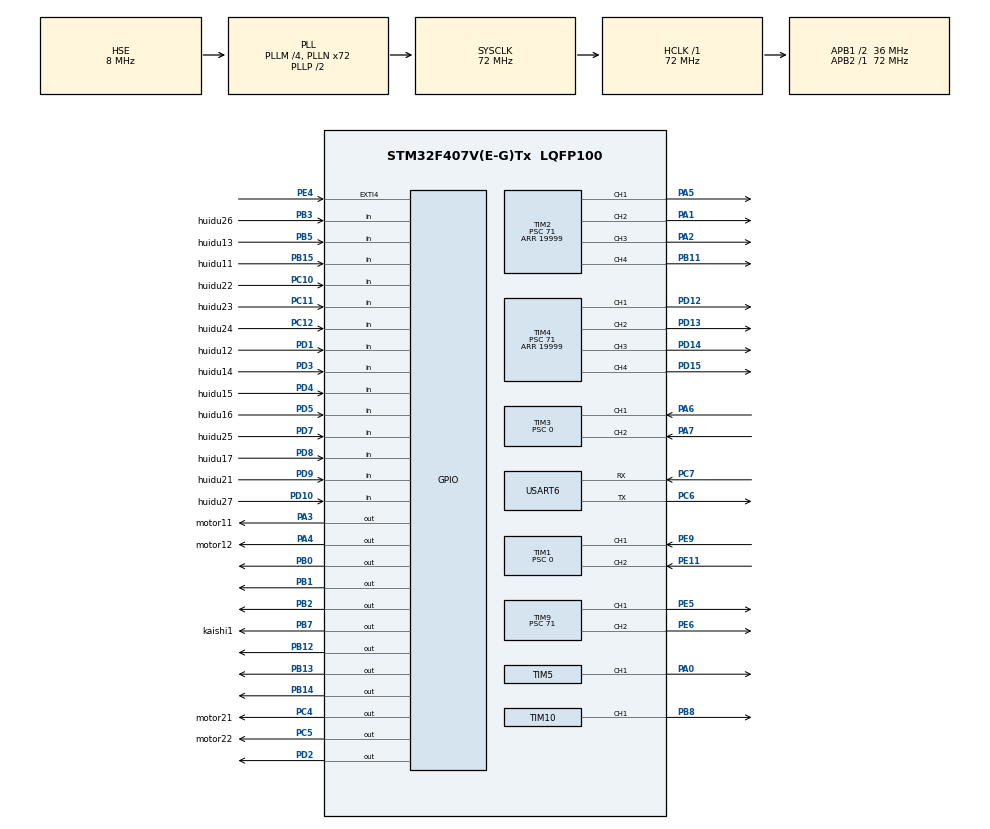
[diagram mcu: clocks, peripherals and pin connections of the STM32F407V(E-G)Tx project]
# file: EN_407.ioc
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Dma.Request0=USART6_RX
Dma.Request1=USART6_TX
Dma.USART6_RX.0.Direction=DMA_PERIPH_TO_MEMORY
Dma.USART6_RX.0.FIFOMode=DMA_FIFOMODE_DISABLE
Dma.USART6_RX.0.Instance=DMA2_Stream1
Dma.USART6_RX.0.MemDataAlignment=DMA_MDATAALIGN_BYTE
Dma.USART6_RX.0.MemInc=DMA_MINC_ENABLE
Dma.USART6_RX.0.Mode=DMA_CIRCULAR
Dma.USART6_RX.0.PeriphDataAlignment=DMA_PDATAALIGN_BYTE
Dma.USART6_RX.0.PeriphInc=DMA_PINC_DISABLE
Dma.USART6_RX.0.Priority=DMA_PRIORITY_MEDIUM
Dma.USART6_TX.1.Direction=DMA_MEMORY_TO_PERIPH
Dma.USART6_TX.1.FIFOMode=DMA_FIFOMODE_DISABLE
Dma.USART6_TX.1.Instance=DMA2_Stream6
Dma.USART6_TX.1.MemDataAlignment=DMA_MDATAALIGN_BYTE
Dma.USART6_TX.1.MemInc=DMA_MINC_ENABLE
Dma.USART6_TX.1.Mode=DMA_NORMAL
Dma.USART6_TX.1.PeriphDataAlignment=DMA_PDATAALIGN_BYTE
Dma.USART6_TX.1.PeriphInc=DMA_PINC_DISABLE
Dma.USART6_TX.1.Priority=DMA_PRIORITY_MEDIUM
Mcu.Family=STM32F4
Mcu.Name=STM32F407V(E-G)Tx
Mcu.Package=LQFP100
NVIC.DMA2_Stream1_IRQn=true\:0\:0\:false\:false\:true\:false\:true\:true
NVIC.DMA2_Stream6_IRQn=true\:0\:0\:false\:false\:true\:false\:true\:true
NVIC.EXTI4_IRQn=true\:0\:0\:false\:false\:true\:true\:true\:true
NVIC.PriorityGroup=NVIC_PRIORITYGROUP_4
NVIC.TIM3_IRQn=true\:0\:0\:false\:false\:true\:true\:true\:true
NVIC.TIM5_IRQn=true\:0\:0\:false\:false\:true\:true\:true\:true
NVIC.TIM6_DAC_IRQn=true\:1\:0\:true\:false\:true\:true\:true\:true
NVIC.USART6_IRQn=true\:2\:0\:true\:false\:true\:true\:true\:true
PA0-WKUP.GPIO_Speed=GPIO_SPEED_FREQ_HIGH
PA0-WKUP.Signal=S_TIM5_CH1
PA1.GPIO_Speed=GPIO_SPEED_FREQ_HIGH
PA1.Signal=S_TIM2_CH2
PA13.Mode=Serial_Wire
PA13.Signal=SYS_JTMS-SWDIO
PA14.Mode=Serial_Wire
PA14.Signal=SYS_JTCK-SWCLK
PA2.Signal=S_TIM2_CH3
PA3.GPIO_Label=motor11
PA3.GPIO_PuPd=GPIO_PULLUP
PA3.GPIO_Speed=GPIO_SPEED_FREQ_HIGH
PA3.Signal=GPIO_Output
PA4.GPIO_Label=motor12
PA4.GPIO_PuPd=GPIO_PULLUP
PA4.GPIO_Speed=GPIO_SPEED_FREQ_HIGH
PA4.Signal=GPIO_Output
PA5.Signal=S_TIM2_CH1_ETR
PA6.Signal=S_TIM3_CH1
PA7.Signal=S_TIM3_CH2
PB0.GPIO_ModeDefaultOutputPP=GPIO_MODE_OUTPUT_PP
PB0.GPIO_PuPd=GPIO_PULLDOWN
PB0.GPIO_Speed=GPIO_SPEED_FREQ_HIGH
PB0.Signal=GPIO_Output
PB1.GPIO_PuPd=GPIO_PULLDOWN
PB1.GPIO_Speed=GPIO_SPEED_FREQ_HIGH
PB1.Signal=GPIO_Output
PB11.Signal=S_TIM2_CH4
PB12.Signal=GPIO_Output
PB13.Signal=GPIO_Output
PB14.Signal=GPIO_Output
PB15.GPIO_Label=huidu11
PB15.GPIO_PuPd=GPIO_NOPULL
PB15.Signal=GPIO_Input
PB2.GPIO_ModeDefaultOutputPP=GPIO_MODE_OUTPUT_PP
PB2.GPIO_PuPd=GPIO_PULLDOWN
PB2.GPIO_Speed=GPIO_SPEED_FREQ_HIGH
PB2.Signal=GPIO_Output
PB3.GPIO_Label=huidu26
PB3.GPIO_PuPd=GPIO_NOPULL
PB3.Signal=GPIO_Input
PB5.GPIO_Label=huidu13
PB5.GPIO_PuPd=GPIO_NOPULL
PB5.Signal=GPIO_Input
PB7.GPIO_Label=kaishi1
PB7.Signal=GPIO_Output
PB8.Signal=S_TIM10_CH1
PC10.GPIO_Label=huidu22
PC10.GPIO_PuPd=GPIO_NOPULL
PC10.Signal=GPIO_Input
PC11.GPIO_Label=huidu23
PC11.GPIO_PuPd=GPIO_NOPULL
PC11.Signal=GPIO_Input
PC12.GPIO_Label=huidu24
PC12.GPIO_PuPd=GPIO_NOPULL
PC12.Signal=GPIO_Input
PC4.GPIO_Label=motor21
PC4.GPIO_PuPd=GPIO_PULLDOWN
PC4.GPIO_Speed=GPIO_SPEED_FREQ_HIGH
PC4.Signal=GPIO_Output
PC5.GPIO_Label=motor22
PC5.GPIO_PuPd=GPIO_PULLDOWN
PC5.GPIO_Speed=GPIO_SPEED_FREQ_HIGH
PC5.Signal=GPIO_Output
PC6.Mode=Asynchronous
PC6.Signal=USART6_TX
PC7.Mode=Asynchronous
PC7.Signal=USART6_RX
PD1.GPIO_Label=huidu12
PD1.GPIO_PuPd=GPIO_NOPULL
PD1.Signal=GPIO_Input
PD10.GPIO_Label=huidu27
PD10.Signal=GPIO_Input
PD12.Signal=S_TIM4_CH1
PD13.Signal=S_TIM4_CH2
PD14.Signal=S_TIM4_CH3
PD15.Signal=S_TIM4_CH4
PD2.Signal=GPIO_Output
PD3.GPIO_Label=huidu14
PD3.GPIO_PuPd=GPIO_NOPULL
PD3.Signal=GPIO_Input
PD4.GPIO_Label=huidu15
PD4.GPIO_PuPd=GPIO_NOPULL
PD4.Signal=GPIO_Input
PD5.GPIO_Label=huidu16
PD5.GPIO_PuPd=GPIO_NOPULL
PD5.Signal=GPIO_Input
PD7.GPIO_Label=huidu25
PD7.GPIO_PuPd=GPIO_NOPULL
PD7.Signal=GPIO_Input
PD8.GPIO_Label=huidu17
PD8.GPIO_PuPd=GPIO_NOPULL
PD8.Signal=GPIO_Input
PD9.GPIO_Label=huidu21
PD9.GPIO_PuPd=GPIO_NOPULL
PD9.Signal=GPIO_Input
PE11.Signal=S_TIM1_CH2
PE4.GPIO_ModeDefaultEXTI=GPIO_MODE_IT_FALLING
PE4.GPIO_PuPd=GPIO_PULLUP
PE4.Signal=GPXTI4
PE5.Signal=S_TIM9_CH1
PE6.Signal=S_TIM9_CH2
PE9.Signal=S_TIM1_CH1
PH0-OSC_IN.Mode=HSE-External-Oscillator
PH0-OSC_IN.Signal=RCC_OSC_IN
PH1-OSC_OUT.Mode=HSE-External-Oscillator
PH1-OSC_OUT.Signal=RCC_OSC_OUT
ProjectManager.HeapSize=0x200
ProjectManager.StackSize=0x400
ProjectManager.TargetToolchain=MDK-ARM V5
RCC.48MHZClocksFreq_Value=36000000
RCC.AHBFreq_Value=72000000
RCC.APB1CLKDivider=RCC_HCLK_DIV2
RCC.APB1Freq_Value=36000000
RCC.APB1TimFreq_Value=72000000
RCC.APB2Freq_Value=72000000
RCC.APB2TimFreq_Value=72000000
RCC.CortexFreq_Value=72000000
RCC.HCLKFreq_Value=72000000
RCC.HSE_VALUE=8000000
RCC.HSI_VALUE=16000000
RCC.LSE_VALUE=32768
RCC.PLLM=4
RCC.PLLN=72
RCC.PLLSourceVirtual=RCC_PLLSOURCE_HSE
RCC.SYSCLKFreq_VALUE=72000000
RCC.SYSCLKSource=RCC_SYSCLKSOURCE_PLLCLK
RCC.VCOOutputFreq_Value=144000000
SH.S_TIM10_CH1.0=TIM10_CH1,PWM Generation1 CH1
SH.S_TIM1_CH1.0=TIM1_CH1,Encoder_Interface
SH.S_TIM1_CH2.0=TIM1_CH2,Encoder_Interface
SH.S_TIM2_CH1_ETR.0=TIM2_CH1,PWM Generation1 CH1
SH.S_TIM2_CH2.0=TIM2_CH2,PWM Generation2 CH2
SH.S_TIM2_CH3.0=TIM2_CH3,PWM Generation3 CH3
SH.S_TIM2_CH4.0=TIM2_CH4,Output Compare4 CH4
SH.S_TIM3_CH1.0=TIM3_CH1,Encoder_Interface
SH.S_TIM3_CH2.0=TIM3_CH2,Encoder_Interface
SH.S_TIM4_CH1.0=TIM4_CH1,PWM Generation1 CH1
SH.S_TIM4_CH2.0=TIM4_CH2,PWM Generation2 CH2
SH.S_TIM4_CH3.0=TIM4_CH3,PWM Generation3 CH3
SH.S_TIM4_CH4.0=TIM4_CH4,PWM Generation4 CH4
SH.S_TIM5_CH1.0=TIM5_CH1,PWM Generation1 CH1
SH.S_TIM9_CH1.0=TIM9_CH1,PWM Generation1 CH1
SH.S_TIM9_CH2.0=TIM9_CH2,PWM Generation2 CH2
TIM1.EncoderMode=TIM_ENCODERMODE_TI12
TIM1.Period=20000
TIM1.Prescaler=0
TIM10.Channel=TIM_CHANNEL_1
TIM10.Period=19999
TIM10.Prescaler=71
TIM2.Channel-Output\ Compare4\ CH4=TIM_CHANNEL_4
TIM2.Channel-PWM\ Generation1\ CH1=TIM_CHANNEL_1
TIM2.Channel-PWM\ Generation2\ CH2=TIM_CHANNEL_2
TIM2.Channel-PWM\ Generation3\ CH3=TIM_CHANNEL_3
TIM2.Period=19999
TIM2.Prescaler=71
TIM3.EncoderMode=TIM_ENCODERMODE_TI12
TIM3.Period=20000
TIM3.Prescaler=0
TIM4.AutoReloadPreload=TIM_AUTORELOAD_PRELOAD_DISABLE
TIM4.Channel-PWM\ Generation1\ CH1=TIM_CHANNEL_1
TIM4.Channel-PWM\ Generation2\ CH2=TIM_CHANNEL_2
TIM4.Channel-PWM\ Generation3\ CH3=TIM_CHANNEL_3
TIM4.Channel-PWM\ Generation4\ CH4=TIM_CHANNEL_4
TIM4.Period=19999
TIM4.Prescaler=71
TIM5.AutoReloadPreload=TIM_AUTORELOAD_PRELOAD_DISABLE
TIM5.Channel-PWM\ Generation1\ CH1=TIM_CHANNEL_1
TIM5.Period=19999
TIM5.Prescaler=71
TIM6.Period=10000-1
TIM6.Prescaler=720-1
TIM9.Channel-PWM\ Generation1\ CH1=TIM_CHANNEL_1
TIM9.Channel-PWM\ Generation2\ CH2=TIM_CHANNEL_2
TIM9.Period=9999
TIM9.Prescaler=71
USART6.VirtualMode=VM_ASYNC
VP_TIM10_VS_ClockSourceINT.Mode=Enable_Timer
VP_TIM2_VS_ClockSourceINT.Mode=Internal
VP_TIM4_VS_ClockSourceINT.Mode=Internal
VP_TIM5_VS_ClockSourceINT.Mode=Internal
VP_TIM6_VS_ClockSourceINT.Mode=Enable_Timer
board=custom

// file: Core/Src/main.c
/* USER CODE BEGIN Header */
/**
  ******************************************************************************
  * @file           : main.c
  * @brief          : Main program body
  ******************************************************************************
  * @attention
  *
  * Copyright (c) 2023 STMicroelectronics.
  * All rights reserved.
  *
  * This software is licensed under terms that can be found in the LICENSE file
  * in the root directory of this software component.
  * If no LICENSE file comes with this software, it is provided AS-IS.
  *
  ******************************************************************************
  */
//DISC_Rotate(2150);				//1在前
//DISC_Rotate(1025);				//1识别
//DISC_Rotate(400);					//2在前
//DISC_Rotate(1400);				//2识别
//DISC_Rotate(900);					//3在前
//DISC_Rotate(1800); 			  //3识别
//DISC_Rotate(1350);				//4在前
//DISC_Rotate(2200);				//4识别
//DISC_Rotate(1750);	 			//5在前
//DISC_Rotate(1000);				//5识别
/* USER CODE END Header */
#include "main.h"
#include "dma.h"
#include "tim.h"
#include "usart.h"
#include "gpio.h"

/* USER CODE BEGIN Includes */
#include "Track.h"
#include "motor.h"
#include "duoji.h"
/* USER CODE END Includes */

/* USER CODE BEGIN PV */
/* USER CODE BEGIN 4 */

/* USER CODE END 4 */

/* USER CODE END PV */

void SystemClock_Config(void);
/* USER CODE BEGIN PFP */
//fp32 feedback_1;
//fp32 feedback_2;
//fp32 set_speed_1;
//fp32 set_speed_2;

float H,L,R,G,B;
int color;
float max,min;
//pid_type_def motor[2];-
//const static fp32 motor_speed_pid[3] = {MOTOR_SPEED_PID_KP, MOTOR_SPEED_PID_KI, MOTOR_SPEED_PID_KD};
//const static fp32 motor_angle_pid[3] = {MOTOR_ANGLE_PID_KP,MOTOR_ANGLE_PID_KI, MOTOR_ANGLE_PID_KD};
/* USER CODE END PFP */

int main(void)
{

  /* MCU Configuration--------------------------------------------------------*/

  /* Reset of all peripherals, Initializes the Flash interface and the Systick. */
  HAL_Init();

  /* Configure the system clock */
  SystemClock_Config();

  /* Initialize all configured peripherals */
  MX_GPIO_Init();
  MX_DMA_Init();
  MX_USART6_UART_Init();
  MX_TIM1_Init();
  MX_TIM3_Init();
  MX_TIM4_Init();
  MX_TIM5_Init();
  MX_TIM6_Init();
  MX_TIM2_Init();
  MX_TIM9_Init();
  MX_TIM10_Init();
  /* USER CODE BEGIN 2 */
	MX_GPIO_Init();
  MX_DMA_Init();
  MX_USART6_UART_Init();
  MX_TIM1_Init();
  MX_TIM3_Init();
  MX_TIM4_Init();
  MX_TIM5_Init();
  MX_TIM6_Init();
  MX_TIM2_Init();
	//两个电机初始化pid
//PID_init(&motor[0],PID_POSITION,motor_speed_pid,40, 100);
//PID_init(&motor[1],PID_POSITION,motor_speed_pid,40, 100);

HAL_TIM_PWM_Start(&htim9,TIM_CHANNEL_1);
HAL_TIM_PWM_Start(&htim9,TIM_CHANNEL_2);
HAL_TIM_PWM_Start(&htim2,TIM_CHANNEL_1);
HAL_TIM_PWM_Start(&htim2,TIM_CHANNEL_2);
HAL_TIM_PWM_Start(&htim2,TIM_CHANNEL_3);
HAL_TIM_PWM_Start(&htim4,TIM_CHANNEL_1);
HAL_TIM_PWM_Start(&htim4,TIM_CHANNEL_2);
HAL_TIM_PWM_Start(&htim4,TIM_CHANNEL_3);
HAL_TIM_PWM_Start(&htim4,TIM_CHANNEL_4);
HAL_TIM_PWM_Start(&htim5,TIM_CHANNEL_1);
HAL_TIM_PWM_Start(&htim10,TIM_CHANNEL_1);
HAL_TIM_Encoder_Start(&htim1, TIM_CHANNEL_ALL);
HAL_TIM_Encoder_Start(&htim3, TIM_CHANNEL_ALL);

HAL_TIM_Base_Start_IT(&htim6);
whitebalance();

//任务开始
    /* USER CODE END WHILE */
		/*任务1*/
		DISC_Rotate(2150);
		MG90S_Rotate_up1();
		MG90S_Rotate_up2();
		MG90S_Rotate_up3();
		MG90S_Rotate_up4();
		MG90S_Rotate_up5();

		Tracking();
		HAL_Delay(1000);
		MG90S_Rotate_down1();		//舵机抓
		HAL_Delay(1000);
		DISC_Rotate(400);//2在前
		Trackinghou();
		HAL_Delay(1000);
		Tracking2();
		HAL_Delay(1000);
		youzhuan2();
		HAL_Delay(1000);
		Tracking5();
		HAL_Delay(1000);
		MG90S_Rotate_down2();			//舵机抓
		HAL_Delay(1000);
		DISC_Rotate(900);//3在前
		HAL_Delay(1000);
		Trackinghou();
		HAL_Delay(1000);
		Tracking2();
		HAL_Delay(1000);
		zuozhuan3();
		HAL_Delay(1000);
		Tracking5();
		HAL_Delay(1000);
		MG90S_Rotate_down3();
		HAL_Delay(1000);//舵机抓
		Trackinghou();
		HAL_Delay(1000);
		Tracking2();
		HAL_Delay(1000);
		youzhuan2();
	//物块识别
		//放1
		DISC_Rotate(2150);//1在前
		HAL_Delay(500);
		DISC_Rotate(750);//1颜色
		HAL_Delay(1000);
		color = rgb();
		DISC_Rotate(2150);//1在前
		HAL_Delay(100);
		tcs2300(color);
		HAL_Delay(100);
		Tracking3();
		HAL_Delay(100);
		MG90S_Rotate_up1();
		HAL_Delay(1000);
		Trackinghou();
		HAL_Delay(500);
		Tracking2();
		HAL_Delay(500);
		tcs2300_turn(color);
		HAL_Delay(1000);
		//放2
		DISC_Rotate(400);//2在前
		HAL_Delay(500);
		DISC_Rotate(1150);//2颜色
		HAL_Delay(1000);
		color = rgb();
		DISC_Rotate(400);//2在前
		HAL_Delay(100);
		tcs2300(color);
		Tracking3();
		HAL_Delay(100);
		MG90S_Rotate_up2();
		HAL_Delay(1000);
		Trackinghou();
		HAL_Delay(500);
		Tracking2();
		HAL_Delay(500);
		tcs2300_turn(color);
		HAL_Delay(1000);
		//放3
		DISC_Rotate(900);//3在前
		HAL_Delay(500);
		DISC_Rotate(1350);//3在右
		HAL_Delay(500);
		DISC_Rotate(1800);//3颜色
		HAL_Delay(1000);
		color = rgb();
		DISC_Rotate(1350);//3在右
		HAL_Delay(500);
		DISC_Rotate(900);//3在前
		HAL_Delay(100);
		tcs2300(color);
		HAL_Delay(100);
		Tracking3();
		HAL_Delay(100);
		MG90S_Rotate_up3();
		HAL_Delay(1000);
		Trackinghou();
		HAL_Delay(500);
		Tracking2();
		HAL_Delay(500);
		tcs2300_turn(color);
		DISC_Rotate(2150);//1在前

		/*任务2*/
		//F区
		zuozhuan2();
		zuozhuan1();
		HAL_Delay(1000);
		Tracking6();
		HAL_Delay(1000);
		Tracking7();
		HAL_Delay(1000);
		MG90S_Rotate_down1();
		MG90S_Rotate_down2();
		MG90S_Rotate_down3();
		MG90S_Rotate_down4();
		MG90S_Rotate_down5();
		HAL_Delay(1000);
		Trackinghou3();
		HAL_Delay(100);
		Tracking2();
		HAL_Delay(100);
		youzhuan1();
		youzhuan2();
		HAL_Delay(1000);
		//旋转舵机识别并前往放置
		//放4
		DISC_Rotate(1350);//4在前
		HAL_Delay(500);
		DISC_Rotate(1750);//4在右
		HAL_Delay(500);
		DISC_Rotate(2200);//4颜色
		HAL_Delay(1000);
		color = rgb();
		DISC_Rotate(1750);//4在右
		HAL_Delay(500);
		DISC_Rotate(1350);//4在前
		HAL_Delay(100);
		tcs2300(color);
		HAL_Delay(100);
		Tracking3();
		HAL_Delay(100);
		MG90S_Rotate_up4();
		HAL_Delay(1000);
		Trackinghou();
		HAL_Delay(500);
		Tracking2();
		HAL_Delay(500);
		tcs2300_turn(color);
		HAL_Delay(1000);
		//放5
		DISC_Rotate(1750);//5在前
		HAL_Delay(1500);
		DISC_Rotate(2150);//5在右
		HAL_Delay(1500);
		DISC_Rotate(2500);//5颜色
		HAL_Delay(1000);
		color = rgb();
		DISC_Rotate(2150);//5在右
		HAL_Delay(500);
		DISC_Rotate(1750);//5在前
		tcs2300(color);
		HAL_Delay(100);
		Tracking3();
		HAL_Delay(100);
		MG90S_Rotate_up5();
		HAL_Delay(1000);
		Trackinghou();
		HAL_Delay(500);
		Tracking2();
		HAL_Delay(500);
		tcs2300_turn(color);
		HAL_Delay(1000);
		//放1
		DISC_Rotate(2150);//1在前
		HAL_Delay(1500);
		DISC_Rotate(750);//1颜色
		HAL_Delay(1500);
		color = rgb();
		DISC_Rotate(2150);//1在前
		HAL_Delay(100);
		tcs2300(color);
		HAL_Delay(100);
		Tracking3();
		HAL_Delay(100);
		MG90S_Rotate_up1();
		HAL_Delay(1000);
		Trackinghou();
		HAL_Delay(500);
		Tracking2();
		HAL_Delay(500);
		tcs2300_turn(color);
		HAL_Delay(1000);
		//放2
		DISC_Rotate(400);//2在前
		HAL_Delay(1500);
		DISC_Rotate(900);//2在右
		HAL_Delay(500);
		DISC_Rotate(1400);//2颜色
		HAL_Delay(1500);
		color = rgb();
		DISC_Rotate(900);//2在右
		HAL_Delay(500);
		DISC_Rotate(400);//2在前
		HAL_Delay(100);
		tcs2300(color);
		HAL_Delay(100);
		Tracking3();
		HAL_Delay(100);
		MG90S_Rotate_up2();
		HAL_Delay(1000);
		Trackinghou();
		HAL_Delay(500);
		Tracking2();
		HAL_Delay(500);
		tcs2300_turn(color);
		HAL_Delay(1000);
		//放3
		DISC_Rotate(900);//3在前
		HAL_Delay(1500);
		DISC_Rotate(1350);//3在右
		HAL_Delay(1500);
		DISC_Rotate(1800);//3颜色
		HAL_Delay(1500);
		color = rgb();
		DISC_Rotate(1350);//3在右
		HAL_Delay(500);
		DISC_Rotate(900);//3在前
		HAL_Delay(100);
		tcs2300(color);
		HAL_Delay(100);
		Tracking3();
		HAL_Delay(100);
		MG90S_Rotate_up3();
		HAL_Delay(1000);
		Trackinghou();
		HAL_Delay(500);
		Tracking2();
		HAL_Delay(500);
		tcs2300_turn(color);
		DISC_Rotate(500);//1在右
		HAL_Delay(500);
		DISC_Rotate(2150);//1在前
		//G区
		youzhuan2();
		youzhuan1();
		HAL_Delay(1000);
		Tracking6();
		HAL_Delay(1000);
		Tracking7();
		HAL_Delay(100);
		MG90S_Rotate_down1();
		MG90S_Rotate_down2();
		MG90S_Rotate_down3();
		MG90S_Rotate_down4();
		MG90S_Rotate_down5();
		HAL_Delay(1000);
		Trackinghou3();
		HAL_Delay(100);
		Tracking2();
		HAL_Delay(100);
		zuozhuan1();
		zuozhuan2();
		HAL_Delay(1000);
		//旋转舵机识别并前往放置
		//放4
		DISC_Rotate(1350);//4在前
		HAL_Delay(500);
		DISC_Rotate(1750);//4在右
		HAL_Delay(500);
		DISC_Rotate(2200);//4颜色
		HAL_Delay(1000);
		color = rgb();
		DISC_Rotate(1750);//4在右
		HAL_Delay(500);
		DISC_Rotate(1350);//4在前
		HAL_Delay(100);
		tcs2300(color);
		HAL_Delay(100);
		Tracking3();
		HAL_Delay(100);
		MG90S_Rotate_up4();
		HAL_Delay(1000);
		Trackinghou();
		HAL_Delay(500);
		Tracking2();
		HAL_Delay(500);
		tcs2300_turn(color);
		HAL_Delay(1000);
		//放5
		DISC_Rotate(1750);//5在前
		HAL_Delay(1500);
		DISC_Rotate(2150);//5在右
		HAL_Delay(1500);
		DISC_Rotate(2500);//5颜色
		HAL_Delay(1000);
		color = rgb();
		DISC_Rotate(2150);//5在右
		HAL_Delay(500);
		DISC_Rotate(1750);//5在前
		HAL_Delay(100);
		tcs2300(color);
		HAL_Delay(100);
		Tracking3();
		HAL_Delay(100);
		MG90S_Rotate_up5();
		HAL_Delay(1000);
		Trackinghou();
		HAL_Delay(500);
		Tracking2();
		HAL_Delay(500);
		tcs2300_turn(color);
		HAL_Delay(1000);
		//放1
		DISC_Rotate(2150);//1在前
		HAL_Delay(1500);
		DISC_Rotate(750);//1颜色
		HAL_Delay(1500);
		color = rgb();
		DISC_Rotate(2150);//1在前
		HAL_Delay(100);
		tcs2300(color);
		HAL_Delay(100);
		Tracking3();
		HAL_Delay(100);
		MG90S_Rotate_up1();
		HAL_Delay(1000);
		Trackinghou();
		HAL_Delay(500);
		Tracking2();
		HAL_Delay(500);
		tcs2300_turn(color);
		HAL_Delay(1000);
		//放2
		DISC_Rotate(400);//2在前
		HAL_Delay(1500);
		DISC_Rotate(900);//2在右
		HAL_Delay(500);
		DISC_Rotate(1150);//2颜色
		HAL_Delay(1500);
		color = rgb();
		DISC_Rotate(900);//2在右
		HAL_Delay(500);
		DISC_Rotate(400);//2在前
		HAL_Delay(100);
		tcs2300(color);
		HAL_Delay(100);
		Tracking3();
		HAL_Delay(100);
		MG90S_Rotate_up2();
		HAL_Delay(1000);
		Trackinghou();
		HAL_Delay(500);
		Tracking2();
		HAL_Delay(500);
		tcs2300_turn(color);
		HAL_Delay(1000);
		//放3
		DISC_Rotate(900);//3在前
		HAL_Delay(1500);
		DISC_Rotate(1350);//3在右
		HAL_Delay(1500);
		DISC_Rotate(1600);//3颜色
		HAL_Delay(1500);
		color = rgb();
		DISC_Rotate(1350);//3在右
		HAL_Delay(500);
		DISC_Rotate(900);//3在前
		HAL_Delay(100);
		tcs2300(color);
		HAL_Delay(100);
		Tracking3();
		HAL_Delay(100);
		MG90S_Rotate_up3();
		HAL_Delay(1000);
		Trackinghou();
		HAL_Delay(500);
		Tracking2();
		HAL_Delay(500);
		tcs2300_turn(color);
		DISC_Rotate(500);//1在右
		HAL_Delay(500);
		DISC_Rotate(2150);//1在前
		HAL_Delay(1000);

//		//摞物块
//		zuozhuan3();
//		HAL_Delay(1000);
//		//绿
//		zuozhuan2();
//		HAL_Delay(1000);
//		MG90S_Rotate_OPEN6();
//		MG90S_Rotate_OPEN7();
//		//tracking8
//		MG90S_Rotate_CLOSE6();
//		MG90S_Rotate_CLOSE7();
//		HAL_Delay(1000);
//		MG_RISE();
//		HAL_Delay(1000);
//		//tracking9
//		HAL_Delay(1000);
//		MG90S_Rotate_OPEN6();
//		MG90S_Rotate_OPEN7();
//		HAL_Delay(1000);
//		MG_DOWN();
//		HAL_Delay(1000);
//		MG90S_Rotate_CLOSE6();
//		MG90S_Rotate_CLOSE7();
//		HAL_Delay(1000);
//		MG_RISE();
//		//tracking10
//		MG_DOWN();
//		HAL_Delay(1000);
//		MG90S_Rotate_CLOSE6();
//		MG90S_Rotate_CLOSE7();
//		//tracking11
//		youzhuan2();
//		HAL_Delay(1000);
//		//白
//		zuozhuan1();
//		HAL_Delay(1000);
//		MG90S_Rotate_OPEN6();
//		MG90S_Rotate_OPEN7();
//		//tracking8
//		MG90S_Rotate_CLOSE6();
//		MG90S_Rotate_CLOSE7();
//		HAL_Delay(1000);
//		MG_RISE();
//		HAL_Delay(1000);
//		//tracking9
//		HAL_Delay(1000);
//		MG90S_Rotate_OPEN6();
//		MG90S_Rotate_OPEN7();
//		HAL_Delay(1000);
//		MG_DOWN();
//		HAL_Delay(1000);
//		MG90S_Rotate_CLOSE6();
//		MG90S_Rotate_CLOSE7();
//		HAL_Delay(1000);
//		MG_RISE();
//		//tracking10
//		MG_DOWN();
//		HAL_Delay(1000);
//		MG90S_Rotate_CLOSE6();
//		MG90S_Rotate_CLOSE7();
//		HAL_Delay(1000);
//		youzhuan1();
//		HAL_Delay(1000);
//		//tracking11
//		//红
//		HAL_Delay(1000);
//		MG90S_Rotate_OPEN6();
//		MG90S_Rotate_OPEN7();
//		//tracking8
//		MG90S_Rotate_CLOSE6();
//		MG90S_Rotate_CLOSE7();
//		HAL_Delay(1000);
//		MG_RISE();
//		HAL_Delay(1000);
//		//tracking9
//		HAL_Delay(1000);
//		MG90S_Rotate_OPEN6();
//		MG90S_Rotate_OPEN7();
//		HAL_Delay(1000);
//		MG_DOWN();
//		HAL_Delay(1000);
//		MG90S_Rotate_CLOSE6();
//		MG90S_Rotate_CLOSE7();
//		HAL_Delay(1000);
//		MG_RISE();
//		//tracking10
//		MG_DOWN();
//		HAL_Delay(1000);
//		MG90S_Rotate_CLOSE6();
//		MG90S_Rotate_CLOSE7();
//		//tracking11
//		youzhuan1();
//		HAL_Delay(1000);
//		//黑
//		youzhuan1();
//		HAL_Delay(1000);
//		MG90S_Rotate_OPEN6();
//		MG90S_Rotate_OPEN7();
//		//tracking8
//		MG90S_Rotate_CLOSE6();
//		MG90S_Rotate_CLOSE7();
//		HAL_Delay(1000);
//		MG_RISE();
//		HAL_Delay(1000);
//		//tracking9
//		HAL_Delay(1000);
//		MG90S_Rotate_OPEN6();
//		MG90S_Rotate_OPEN7();
//		HAL_Delay(1000);
//		MG_DOWN();
//		HAL_Delay(1000);
//		MG90S_Rotate_CLOSE6();
//		MG90S_Rotate_CLOSE7();
//		HAL_Delay(1000);
//		MG_RISE();
//		//tracking10
//		MG_DOWN();
//		HAL_Delay(1000);
//		MG90S_Rotate_CLOSE6();
//		MG90S_Rotate_CLOSE7();
//		//tracking11
//		HAL_Delay(1000);
//		zuozhuan1();
//		HAL_Delay(1000);
//		//蓝
//		youzhuan2();
//		HAL_Delay(1000);
//		MG90S_Rotate_OPEN6();
//		MG90S_Rotate_OPEN7();
//		//tracking8
//		MG90S_Rotate_CLOSE6();
//		MG90S_Rotate_CLOSE7();
//		HAL_Delay(1000);
//		MG_RISE();
//		HAL_Delay(1000);
//		//tracking9
//		HAL_Delay(1000);
//		MG90S_Rotate_OPEN6();
//		MG90S_Rotate_OPEN7();
//		HAL_Delay(1000);
//		MG_DOWN();
//		HAL_Delay(1000);
//		MG90S_Rotate_CLOSE6();
//		MG90S_Rotate_CLOSE7();
//		HAL_Delay(1000);
//		MG_RISE();
//		//tracking10
//		MG_DOWN();
//		HAL_Delay(1000);
//		MG90S_Rotate_CLOSE6();
//		MG90S_Rotate_CLOSE7();
//		//tracking11
//		HAL_Delay(1000);
//		zuozhuan2();
//		HAL_Delay(1000);
//
//		youzhuan3();
//		//归位
		HAL_Delay(1000);
		Trackinghou2();
	//任务结束

  /* USER CODE END 2 */

  /* Infinite loop */
  /* USER CODE BEGIN WHILE */
  while (1)
  {
//		MG90S_Rotate_OPEN6();
//		MG90S_Rotate_OPEN7();
//		HAL_Delay(1000);
//		MG90S_Rotate_CLOSE6();
//		MG90S_Rotate_CLOSE7();
//		HAL_Delay(1000);
//		MG_RISE();
//		HAL_Delay(1000);
//		MG90S_Rotate_OPEN6();
//		MG90S_Rotate_OPEN7();
//		HAL_Delay(1000);
//		MG_DOWN();
//		HAL_Delay(1000);
//		MG90S_Rotate_CLOSE6();
//		MG90S_Rotate_CLOSE7();
//		HAL_Delay(3000);
    /* USER CODE END WHILE */

    /* USER CODE BEGIN 3 */
//	R=tcs2300_RED();
//	G=tcs2300_GREEN();
//	B=tcs2300_BLUE();
//
//	//计算最大值
//	if(R==G&&G==B)	max = 1;
//	else if(R>=G&&R>=B)	max = R;
//	else if(G>=R&&G>=B)	max = G;
//	else if(B>=G&&B>=R)	max = B;
//	else	max = 0;
//	//计算最小值
//	if(R==G&&G==B)	min = 1;
//	else if(R<=G&&R<=B)	min = R;
//	else if(G<=R&&G<=B)	min = G;
//	else if(B<=G&&B<=R)	min = B;
//	else	min = 0;
//	//计算色相H
//	if(max==R)	H = 60*((G-B)/(max-min));
//	if(max==G)	H = 60*((B-R)/(max-min))+120;
//	if(max==B)	H = 60*((R-G)/(max-min))+240;
//	if(max==min)	H = 0;
//	//如果H为负，则+360，修正为正数
//	if(H<0)	H+=360;
//	//计算亮度L
//	L =(max+min)/2;
//
//	if(R>200 && G>200 && B>200)//白色
//	{
//		color = 2;
//	}
//		else if(G>R && G>B && H<200)//绿色
//	{
//		color = 1;
//	}
//	else if(R<50 && G<50 && B<50)//黑色
//	{
//		color = 4;
//	}
//	else if(B>G && B>R && H>200)//蓝色
//	{
//		color = 5;
//	}
//	else if(R>G && R>B)//红色
//	{
//		color = 3;
//	}
//   else
//	{
//		color = 0;
//	}

	}
  /* USER CODE END 3 */
}

void SystemClock_Config(void)
{
  RCC_OscInitTypeDef RCC_OscInitStruct = {0};
  RCC_ClkInitTypeDef RCC_ClkInitStruct = {0};

  /** Configure the main internal regulator output voltage
  */
  __HAL_RCC_PWR_CLK_ENABLE();
  __HAL_PWR_VOLTAGESCALING_CONFIG(PWR_REGULATOR_VOLTAGE_SCALE1);

  /** Initializes the RCC Oscillators according to the specified parameters
  * in the RCC_OscInitTypeDef structure.
  */
  RCC_OscInitStruct.OscillatorType = RCC_OSCILLATORTYPE_HSE;
  RCC_OscInitStruct.HSEState = RCC_HSE_ON;
  RCC_OscInitStruct.PLL.PLLState = RCC_PLL_ON;
  RCC_OscInitStruct.PLL.PLLSource = RCC_PLLSOURCE_HSE;
  RCC_OscInitStruct.PLL.PLLM = 4;
  RCC_OscInitStruct.PLL.PLLN = 72;
  RCC_OscInitStruct.PLL.PLLP = RCC_PLLP_DIV2;
  RCC_OscInitStruct.PLL.PLLQ = 4;
  if (HAL_RCC_OscConfig(&RCC_OscInitStruct) != HAL_OK)
  {
    Error_Handler();
  }

  /** Initializes the CPU, AHB and APB buses clocks
  */
  RCC_ClkInitStruct.ClockType = RCC_CLOCKTYPE_HCLK|RCC_CLOCKTYPE_SYSCLK
                              |RCC_CLOCKTYPE_PCLK1|RCC_CLOCKTYPE_PCLK2;
  RCC_ClkInitStruct.SYSCLKSource = RCC_SYSCLKSOURCE_PLLCLK;
  RCC_ClkInitStruct.AHBCLKDivider = RCC_SYSCLK_DIV1;
  RCC_ClkInitStruct.APB1CLKDivider = RCC_HCLK_DIV2;
  RCC_ClkInitStruct.APB2CLKDivider = RCC_HCLK_DIV1;

  if (HAL_RCC_ClockConfig(&RCC_ClkInitStruct, FLASH_LATENCY_2) != HAL_OK)
  {
    Error_Handler();
  }
}

void Error_Handler(void)
{
  __disable_irq();
  while (1)
  {
  }
}
